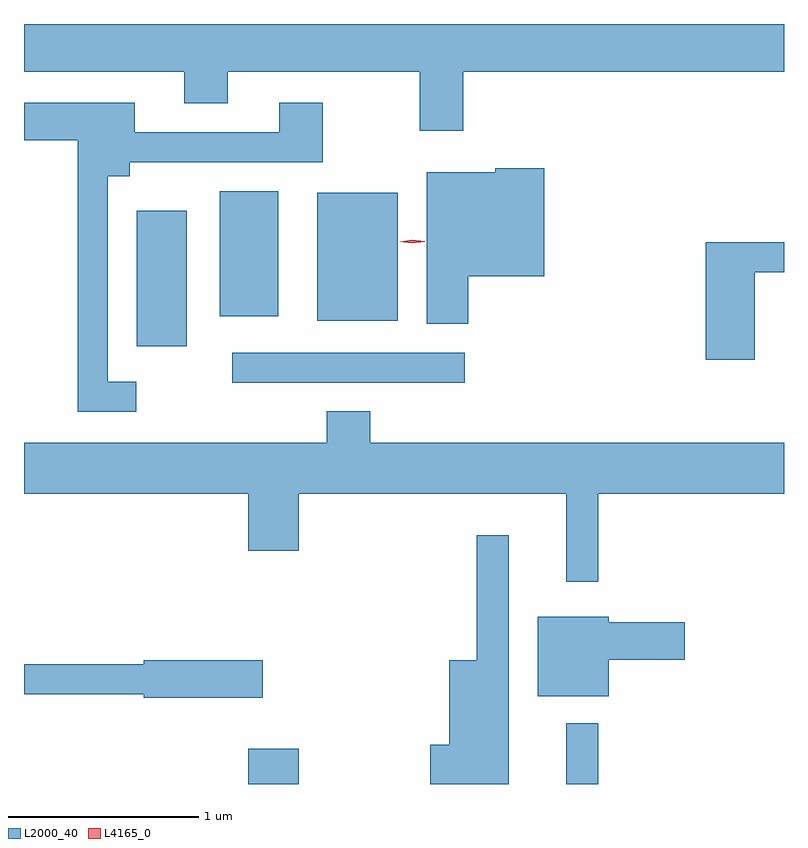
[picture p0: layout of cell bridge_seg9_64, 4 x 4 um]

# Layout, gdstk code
import gdstk
lib = gdstk.Library(unit=1e-6, precision=1e-09)
def R(c, l, rs):  # rectangles x0, y0, x1, y1
    for r in rs: c.add(gdstk.rectangle(r[:2], r[2:], *l))
def P(c, l, *ps):  # polygons
    for p in ps: c.add(gdstk.Polygon(p, *l))
L2000_40 = (2000, 40)
L4165_0 = (4165, 0)

bridge_seg9_64 = lib.new_cell('bridge_seg9_64')
R(bridge_seg9_64, L2000_40, [(1673.616,1945.888,1673.884,1946.074), (1675.291,1945.888,1675.459,1946.208), (1673.533,1948.001,1674.758,1948.159), (1673.031,1948.191,1673.294,1948.904), (1673.981,1948.326,1674.404,1948.999), (1673.466,1948.351,1673.774,1949.009)])
P(bridge_seg9_64, L2000_40, [(1674.749,1949.636),(1676.437,1949.636),(1676.437,1949.888),(1672.437,1949.888),(1672.437,1949.636),(1673.281,1949.636),(1673.281,1949.471),(1673.509,1949.471),(1673.509,1949.636),(1674.521,1949.636),(1674.521,1949.326),(1674.749,1949.326)],
  [(1673.028,1948.004),(1672.879,1948.004),(1672.879,1949.086),(1672.994,1949.086),(1672.994,1949.161),(1674.009,1949.161),(1674.009,1949.474),(1673.781,1949.474),(1673.781,1949.319),(1673.019,1949.319),(1673.019,1949.474),(1672.437,1949.474),(1672.437,1949.276),(1672.721,1949.276),(1672.721,1947.846),(1673.028,1947.846)],
  [(1674.774,1948.561),(1675.174,1948.561),(1675.174,1949.129),(1674.916,1949.129),(1674.916,1949.109),(1674.556,1949.109),(1674.556,1948.311),(1674.774,1948.311)],
  [(1676.284,1948.581),(1676.437,1948.581),(1676.437,1948.739),(1676.026,1948.739),(1676.026,1948.121),(1676.284,1948.121)],
  [(1675.459,1947.416),(1676.437,1947.416),(1676.437,1947.684),(1674.259,1947.684),(1674.259,1947.849),(1674.031,1947.849),(1674.031,1947.684),(1672.437,1947.684),(1672.437,1947.416),(1673.616,1947.416),(1673.616,1947.116),(1673.884,1947.116),(1673.884,1947.416),(1675.291,1947.416),(1675.291,1946.953),(1675.459,1946.953)],
  [(1674.989,1947.198),(1674.821,1947.198),(1674.821,1946.539),(1674.676,1946.539),(1674.676,1946.094),(1674.576,1946.094),(1674.576,1945.888),(1674.989,1945.888)],
  [(1675.514,1946.541),(1675.914,1946.541),(1675.914,1946.739),(1675.514,1946.739),(1675.514,1946.769),(1675.141,1946.769),(1675.141,1946.351),(1675.514,1946.351)],
  [(1673.694,1946.539),(1673.066,1946.539),(1673.066,1946.519),(1672.437,1946.519),(1672.437,1946.361),(1673.066,1946.361),(1673.066,1946.341),(1673.694,1946.341)])
P(bridge_seg9_64, L4165_0, [(1674.48,1948.733),(1674.414,1948.742),(1674.414,1948.742),(1674.414,1948.743),(1674.48,1948.753),(1674.546,1948.744),(1674.546,1948.744),(1674.546,1948.743)])

lib.write_gds('bridge_seg9_64.gds')
